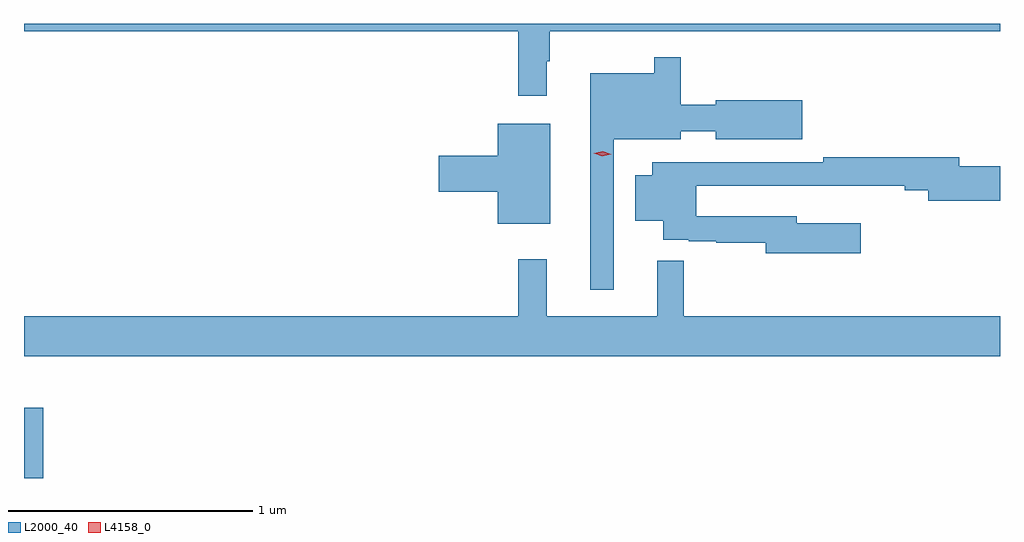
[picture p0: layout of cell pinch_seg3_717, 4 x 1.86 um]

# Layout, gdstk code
import gdstk
lib = gdstk.Library(unit=1e-6, precision=1e-09)
def R(c, l, rs):  # rectangles x0, y0, x1, y1
    for r in rs: c.add(gdstk.rectangle(r[:2], r[2:], *l))
def P(c, l, *ps):  # polygons
    for p in ps: c.add(gdstk.Polygon(p, *l))
L2000_40 = (2000, 40)
L4158_0 = (4158, 0)

pinch_seg3_717 = lib.new_cell('pinch_seg3_717')
R(pinch_seg3_717, L2000_40, [(873.37,747.036,873.448,747.325)])
P(pinch_seg3_717, L2000_40, [(875.512,748.745),(875.524,748.745),(875.524,748.868),(877.37,748.868),(877.37,748.9),(873.37,748.9),(873.37,748.868),(875.395,748.868),(875.395,748.605),(875.512,748.605)],
  [(875.787,748.427),(876.061,748.427),(876.061,748.458),(876.206,748.458),(876.206,748.427),(876.559,748.427),(876.559,748.585),(876.206,748.585),(876.206,748.567),(876.061,748.567),(876.061,748.762),(875.952,748.762),(875.952,748.696),(875.69,748.696),(875.69,747.81),(875.787,747.81)],
  [(875.527,748.489),(875.312,748.489),(875.312,748.358),(875.07,748.358),(875.07,748.211),(875.312,748.211),(875.312,748.079),(875.527,748.079)],
  [(876.799,748.081),(876.538,748.081),(876.538,748.11),(876.125,748.11),(876.125,748.236),(876.634,748.236),(876.634,748.235),(876.98,748.235),(876.98,748.216),(877.076,748.216),(877.076,748.174),(877.37,748.174),(877.37,748.316),(877.204,748.316),(877.204,748.352),(876.646,748.352),(876.646,748.332),(875.945,748.332),(875.945,748.279),(875.876,748.279),(875.876,748.091),(875.99,748.091),(875.99,748.014),(876.094,748.014),(876.094,748.008),(876.208,748.008),(876.208,748.002),(876.41,748.002),(876.41,747.959),(876.799,747.959)],
  [(877.37,747.7),(876.074,747.7),(876.074,747.929),(875.966,747.929),(875.966,747.7),(875.513,747.7),(875.513,747.934),(875.395,747.934),(875.395,747.7),(873.37,747.7),(873.37,747.536),(877.37,747.536)])
P(pinch_seg3_717, L4158_0, [(875.74,748.357),(875.706,748.368),(875.705,748.369),(875.706,748.369),(875.742,748.377),(875.776,748.365),(875.776,748.365),(875.776,748.365)])

lib.write_gds('pinch_seg3_717.gds')
